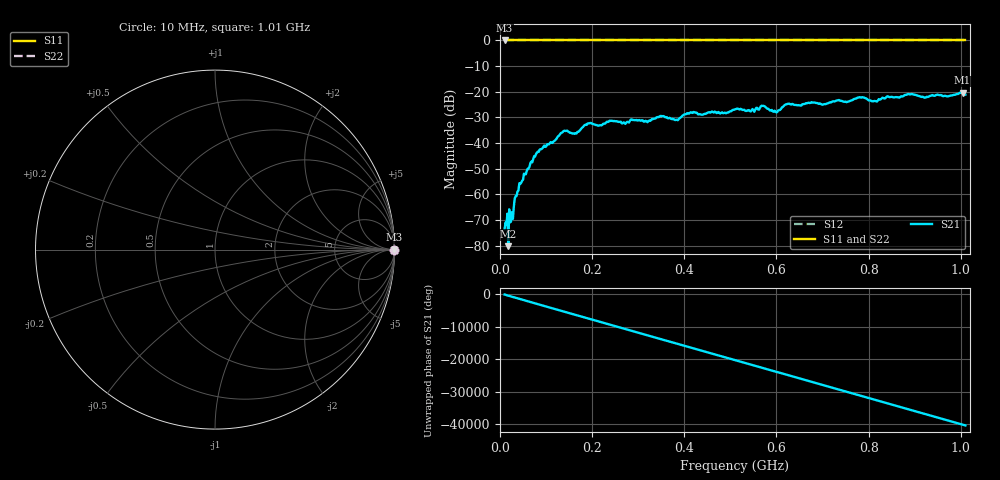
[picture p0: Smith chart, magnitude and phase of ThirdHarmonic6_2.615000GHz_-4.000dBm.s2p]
! 8/17/2025 5:44:52 AM
! C:\ANRITSUVNA\TEMP\TEMP.S2P
! CHANNEL.1
! TR.MEASUREMENT
! RAW.DATA
! RF.CORRECTION.OFF
! AVERAGING.OFF
! IF.BANDWIDTH: 5KHZ
! SWEEPTYPE:  FREQ.SWEEP(Linear)
! Reference Plane Port Info
! PORT:  PORT1  PORT2
! DISTANCE:  0  m  0  m
! TIME:  0  s  0  s
! PHASE.OFFSET:  0  deg.  0  deg.
! LOSS:  0  dB  0  dB
! REF.LOSS:  0  dB  0  dB
! REF.FREQ:  0  Hz  0  Hz
! Power Info
! POWER:  -20  dBm  -20  dBm
! EFF.POWER:  -20  dBm  -20  dBm
! SOURCE.ATTEN:  0  dB  0  dB
! TEST.ATTEN:  0  dB  0  dB
# GHZ S RI R 50.0
! FREQ.GHZ  S11RE  S11IM  S21RE  S21IM  S12RE  S12IM  S22RE  S22IM
!; PortSelection: Port_12
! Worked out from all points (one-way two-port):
!   501 points, 10 MHz to 1.01 GHz, reference 50 ohm
!   highest |S21| = -20.33 dB at 1.004 GHz (marker M1); lowest = -80.2 dB at 18 MHz (marker M2)
!   lowest |S11| = 0.0 dB at 10 MHz (marker M3)
!   |S11| at or under -10 dB: nowhere
!   |S22| runs from 0.0 to 0.0 dB; largest |S21 - S12| = 1.1
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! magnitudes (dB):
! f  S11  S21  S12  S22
! 10 MHz  0.0  -73.5  0.0  0.0
! 18 MHz  0.0  -80.2  0.0  0.0
! 26 MHz  0.0  -66.9  0.0  0.0
! 34 MHz  0.0  -60.7  0.0  0.0
! 42 MHz  0.0  -55.6  0.0  0.0
! 78 MHz  0.0  -44.3  0.0  0.0
! 136 MHz  0.0  -35.7  0.0  0.0
! 162 MHz  0.0  -36.4  0.0  0.0
! 178 MHz  0.0  -34.0  0.0  0.0
! 194 MHz  0.0  -32.3  0.0  0.0
! 318 MHz  0.0  -31.5  0.0  0.0
! 344 MHz  0.0  -29.9  0.0  0.0
! 384 MHz  0.0  -30.9  0.0  0.0
! 416 MHz  0.0  -28.1  0.0  0.0
! 510 MHz  0.0  -26.8  0.0  0.0
! 570 MHz  0.0  -25.5  0.0  0.0
! 598 MHz  0.0  -27.7  0.0  0.0
! 624 MHz  0.0  -24.7  0.0  0.0
! 678 MHz  0.0  -24.2  0.0  0.0
! 844 MHz  0.0  -22.0  0.0  0.0
! 1.004 GHz  0.0  -20.3  0.0  0.0
! 1.01 GHz  0.0  -21.1  0.0  0.0
